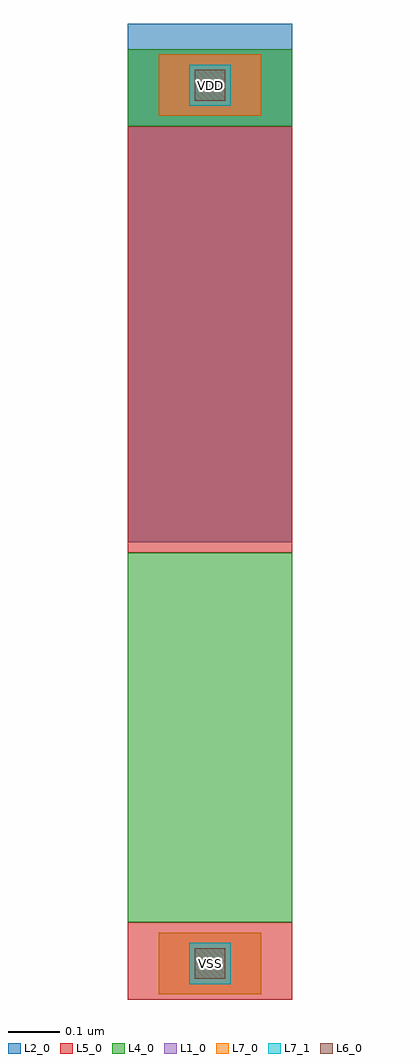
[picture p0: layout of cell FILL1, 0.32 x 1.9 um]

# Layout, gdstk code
import gdstk
lib = gdstk.Library(unit=1e-6, precision=5e-10)
def R(c, l, rs):  # rectangles x0, y0, x1, y1
    for r in rs: c.add(gdstk.rectangle(r[:2], r[2:], *l))
L1_0 = (1, 0)
L2_0 = (2, 0)
L4_0 = (4, 0)
L5_0 = (5, 0)
L6_0 = (6, 0)
L7_0 = (7, 0)
L7_1 = (7, 1)

fill1 = lib.new_cell('FILL1')
R(fill1, L1_0, [(0,-0.06,0.2,0.06), (0,1.65,0.2,1.77)])
R(fill1, L2_0, [(-0.06,0.82,0.26,1.83)])
R(fill1, L4_0, [(-0.06,0.08,0.26,0.8), (-0.06,1.63,0.26,1.78)])
R(fill1, L5_0, [(-0.06,-0.07,0.26,0.08), (-0.06,0.8,0.26,1.63)])
R(fill1, L6_0, [(0.07,-0.03,0.13,0.03), (0.07,1.68,0.13,1.74)])
R(fill1, L7_0, [(0,-0.06,0.2,0.06), (0,1.65,0.2,1.77)])
R(fill1, L7_1, [(0.06,-0.04,0.14,0.04), (0.06,1.67,0.14,1.75)])
fill1.add(gdstk.Label('VSS', (0.1,0), layer=7, texttype=1))
fill1.add(gdstk.Label('VDD', (0.1,1.71), layer=7, texttype=1))
fill1.add(gdstk.Label('VDD', (0.09,1.7), layer=63, texttype=0))
fill1.add(gdstk.Label('VSS', (0.085,0), layer=63, texttype=0))

lib.write_gds('FILL1.gds')
